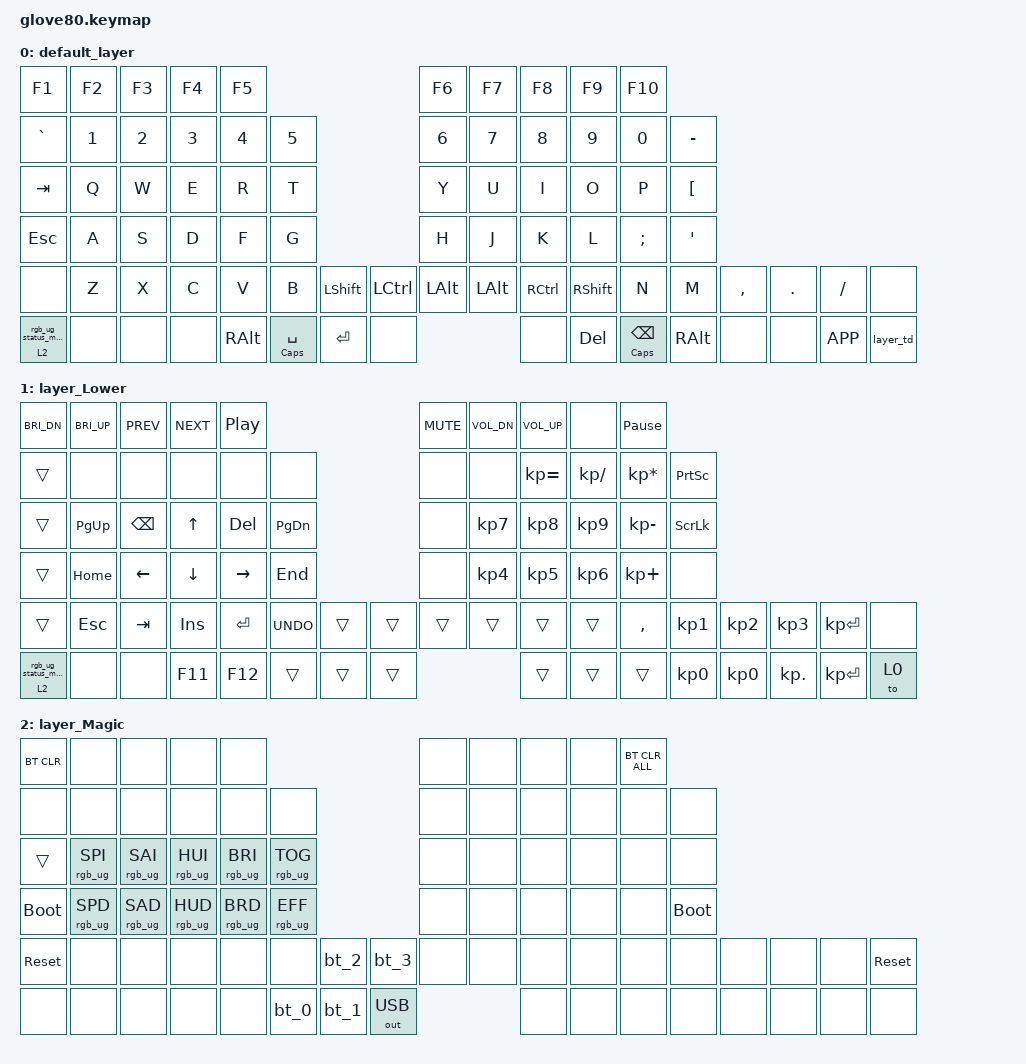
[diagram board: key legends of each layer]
/*
 * Copyright (c) 2020 The ZMK Contributors
 *
 * SPDX-License-Identifier: MIT
 */

#include <behaviors.dtsi>
#include <dt-bindings/zmk/keys.h>
#include <dt-bindings/zmk/bt.h>
#include <dt-bindings/zmk/ext_power.h>
#include <dt-bindings/zmk/outputs.h>
#include <dt-bindings/zmk/rgb.h>

#define HYPER LC(LS(LG(LALT)))
#define NEO_M3 CAPS // not a letter key!
#define NEO_M4 RALT // not a letter key!

// layers
#define DEFAULT 0
#define LOWER 1
#define MAGIC 2

// global timing settings
&mt {
  quick-tap-ms = <200>;  // repeat on tap-into-hold
};

/ {
    behaviors {
        // For the "layer" key, it'd nice to be able to use it as either a shift or a toggle.
        // Configure it as a tap dance, so the first tap (or hold) is a &mo and the second tap is a &to
        layer_td: tap_dance_0 {
            compatible = "zmk,behavior-tap-dance";
            label = "LAYER_TAP_DANCE";
            #binding-cells = <0>;
            tapping-term-ms = <200>;
            bindings = <&mo LOWER>, <&to LOWER>;
        };

        magic: magic_hold_tap {
            compatible = "zmk,behavior-hold-tap";
            label = "MAGIC_HOLD_TAP";
            #binding-cells = <2>;
            flavor = "tap-preferred";
            tapping-term-ms = <200>;
            bindings = <&mo>, <&rgb_ug_status_macro>;
        };
    };

    macros {
        rgb_ug_status_macro: rgb_ug_status_macro_0 {
            label = "RGB_UG_STATUS";
            compatible = "zmk,behavior-macro";
            #binding-cells = <0>;
            bindings
                = <&rgb_ug RGB_STATUS>;
        };

        bt_0: bt_profile_macro_0 {
            label = "BT_0";
            compatible = "zmk,behavior-macro";
            #binding-cells = <0>;
            bindings
                = <&out OUT_BLE>,
                  <&bt BT_SEL 0>;
        };

        bt_1: bt_profile_macro_1 {
            label = "BT_1";
            compatible = "zmk,behavior-macro";
            #binding-cells = <0>;
            bindings
                = <&out OUT_BLE>,
                  <&bt BT_SEL 1>;
        };

        bt_2: bt_profile_macro_2 {
            label = "BT_2";
            compatible = "zmk,behavior-macro";
            #binding-cells = <0>;
            bindings
                = <&out OUT_BLE>,
                  <&bt BT_SEL 2>;
        };

        bt_3: bt_profile_macro_3 {
            label = "BT_3";
            compatible = "zmk,behavior-macro";
            #binding-cells = <0>;
            bindings
                = <&out OUT_BLE>,
                  <&bt BT_SEL 3>;
        };
    };

    keymap {
        compatible = "zmk,keymap";

        default_layer {
            bindings = <
	&kp F1	&kp F2	&kp F3	&kp F4	&kp F5									&kp F6	&kp F7	&kp F8	&kp F9	&kp F10
	&kp GRAVE	&kp N1	&kp N2	&kp N3	&kp N4	&kp N5							&kp N6	&kp N7	&kp N8	&kp N9	&kp N0	&kp MINUS
	&kp TAB	&kp Q	&kp W	&kp E	&kp R	&kp T							&kp Y	&kp U	&kp I	&kp O	&kp P	&kp LBKT
	&kp ESC	&kp A	&kp S	&kp D	&kp F	&kp G							&kp H	&kp J	&kp K	&kp L	&kp SEMI	&kp SQT
	&none	&kp Z	&kp X	&kp C	&kp V	&kp B	&kp LSHFT	&kp LCTRL	&kp LALT	&kp LALT	&kp RCTRL	&kp RSHFT	&kp N	&kp M	&kp COMMA	&kp DOT	&kp FSLH	&none
	&magic 2 0	&none	&none	&none	&kp NEO_M4		&mt NEO_M3 SPACE	&kp RET	&none	&none	&kp DEL	&mt NEO_M3 BSPC		&kp NEO_M4	&none	&none	&kp K_APP	&layer_td
            >;
        };

        layer_Lower {
            bindings = <
	&kp C_BRI_DN	&kp C_BRI_UP	&kp C_PREV	&kp C_NEXT	&kp C_PP									&kp C_MUTE	&kp C_VOL_DN	&kp C_VOL_UP	&none	&kp PAUSE_BREAK
	&trans	&none	&none	&none	&none	&none							&none	&none	&kp KP_EQUAL	&kp KP_SLASH	&kp KP_MULTIPLY	&kp PRINTSCREEN
	&trans	&kp PG_UP	&kp BSPC	&kp UP_ARROW	&kp DEL	&kp PG_DN							&none	&kp KP_N7	&kp KP_N8	&kp KP_N9	&kp KP_MINUS	&kp SCROLLLOCK
	&trans	&kp HOME	&kp LEFT_ARROW	&kp DOWN_ARROW	&kp RIGHT_ARROW	&kp END							&none	&kp KP_N4	&kp KP_N5	&kp KP_N6	&kp KP_PLUS	&none
	&trans	&kp ESC	&kp TAB	&kp INS	&kp RET	&kp UNDO	&trans	&trans	&trans	&trans	&trans	&trans	&kp COMMA	&kp KP_N1	&kp KP_N2	&kp KP_N3	&kp KP_ENTER	&none
	&magic 2 0	&none	&none	&kp F11	&kp F12		&trans	&trans	&trans	&trans	&trans	&trans		&kp KP_N0	&kp KP_N0	&kp KP_DOT	&kp KP_ENTER	&to 0
            >;
        };

        layer_Magic {
            bindings = <
	&bt BT_CLR	&none	&none	&none	&none									&none	&none	&none	&none	&bt BT_CLR_ALL
	&none	&none	&none	&none	&none	&none							&none	&none	&none	&none	&none	&none
	&trans	&rgb_ug RGB_SPI	&rgb_ug RGB_SAI	&rgb_ug RGB_HUI	&rgb_ug RGB_BRI	&rgb_ug RGB_TOG							&none	&none	&none	&none	&none	&none
	&bootloader	&rgb_ug RGB_SPD	&rgb_ug RGB_SAD	&rgb_ug RGB_HUD	&rgb_ug RGB_BRD	&rgb_ug RGB_EFF							&none	&none	&none	&none	&none	&bootloader
	&sys_reset	&none	&none	&none	&none	&none	&bt_2	&bt_3	&none	&none	&none	&none	&none	&none	&none	&none	&none	&sys_reset
	&none	&none	&none	&none	&none		&bt_0	&bt_1	&out OUT_USB	&none	&none	&none		&none	&none	&none	&none	&none
            >;
        };

    };
};

// Emacs config:
//    M-x delete-trailing-whitespace
// Local Variables:
// show-trailing-whitespace: t
// mode: c
// End:
